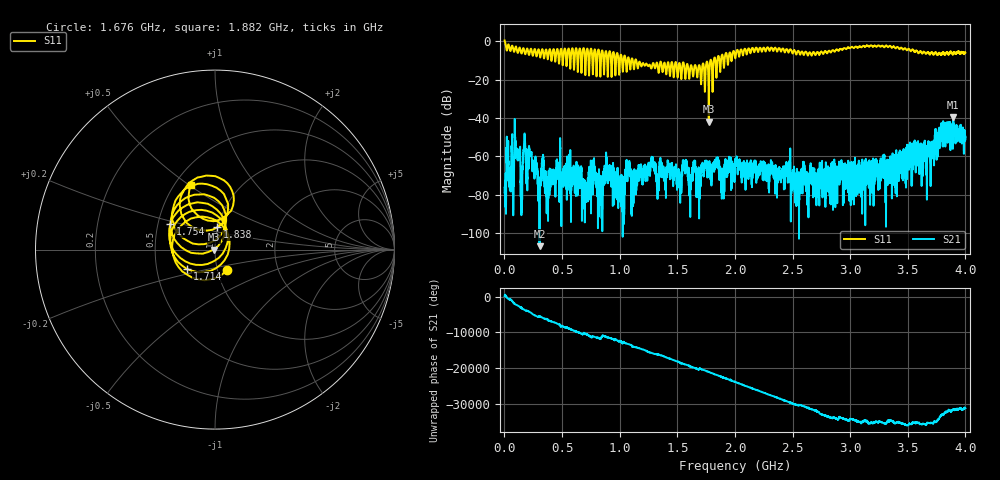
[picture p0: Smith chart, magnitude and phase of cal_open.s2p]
!Created with skrf (http://scikit-rf.org).
# GHz S RI R 50.0
!freq ReS11 ImS11 ReS21 ImS21 ReS12 ImS12 ReS22 ImS22
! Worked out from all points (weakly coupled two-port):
!   4000 points, 1 MHz to 4 GHz, reference 50 ohm
!   highest |S21| = -39.66 dB at 3.895 GHz (marker M1); lowest = -106.7 dB at 304 MHz (marker M2)
!   lowest |S11| = -41.9 dB at 1.773 GHz (marker M3), VSWR 1.02, Z = 49.2 - j0.0225 ohm
!   |S11| at or under -10 dB: 1.113 GHz to 1.134 GHz (20.89 MHz wide, 1.86 % of centre); 1.144 GHz to 1.787 GHz (642.6 MHz wide, 43.9 % of centre); 1.794 GHz to 1.817 GHz (22.95 MHz wide, 1.27 % of centre) (the widest 3 of 30)
!   S12 and S22 are empty: the file has one direction only
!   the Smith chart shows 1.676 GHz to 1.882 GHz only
!   S11 on the Smith chart (normalised r, x): 1.676 GHz: 1.11, -0.26; 1.714 GHz: 0.71, -0.16; 1.754 GHz: 0.58, +0.18; 1.838 GHz: 0.99, +0.25; 1.882 GHz: 0.60, +0.51
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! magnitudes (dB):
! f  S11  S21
! 1 MHz  0.4  -78.8
! 107 MHz  -4.4  -56.8
! 138 MHz  -4.3  -65.3
! 223 MHz  -4.8  -59.4
! 304 MHz  -6.4  -106.7
! 668 MHz  -16.5  -65.8
! 1.02 GHz  -10.1  -73.0
! 1.069 GHz  -9.4  -68.9
! 1.125 GHz  -14.5  -73.1
! 1.285 GHz  -12.0  -65.3
! 1.334 GHz  -15.0  -74.6
! 1.676 GHz  -17.6  -73.2
! 1.714 GHz  -14.4  -64.6
! 1.754 GHz  -10.8  -63.1
! 1.773 GHz  -41.9  -64.1
! 1.838 GHz  -18.1  -61.6
! 1.882 GHz  -8.3  -78.8
! 2.001 GHz  -8.5  -63.2
! 2.667 GHz  -7.4  -74.7
! 3.334 GHz  -2.8  -67.3
! 3.895 GHz  -6.6  -39.7
! 4 GHz  -5.9  -51.1
